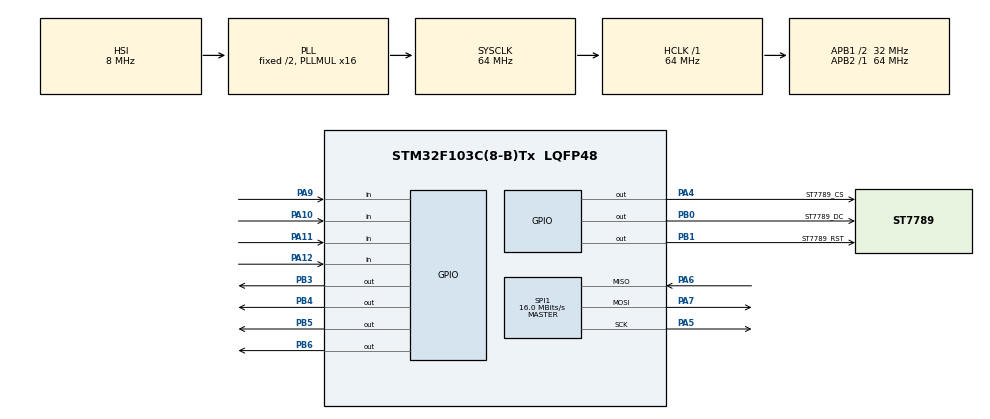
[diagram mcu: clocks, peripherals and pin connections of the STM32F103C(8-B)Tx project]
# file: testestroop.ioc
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Mcu.Family=STM32F1
Mcu.Name=STM32F103C(8-B)Tx
Mcu.Package=LQFP48
NVIC.PriorityGroup=NVIC_PRIORITYGROUP_4
PA10.GPIO_PuPd=GPIO_PULLUP
PA10.Signal=GPIO_Input
PA11.GPIO_PuPd=GPIO_PULLUP
PA11.Signal=GPIO_Input
PA12.GPIO_PuPd=GPIO_PULLUP
PA12.Signal=GPIO_Input
PA13.Mode=Serial_Wire
PA13.Signal=SYS_JTMS-SWDIO
PA14.Mode=Serial_Wire
PA14.Signal=SYS_JTCK-SWCLK
PA4.GPIO_Label=ST7789_CS
PA4.Signal=GPIO_Output
PA5.Mode=Full_Duplex_Master
PA5.Signal=SPI1_SCK
PA6.Mode=Full_Duplex_Master
PA6.Signal=SPI1_MISO
PA7.Mode=Full_Duplex_Master
PA7.Signal=SPI1_MOSI
PA9.GPIO_PuPd=GPIO_PULLUP
PA9.Signal=GPIO_Input
PB0.GPIO_Label=ST7789_DC
PB0.Signal=GPIO_Output
PB1.GPIO_Label=ST7789_RST
PB1.Signal=GPIO_Output
PB3.Signal=GPIO_Output
PB4.Signal=GPIO_Output
PB5.Signal=GPIO_Output
PB6.Signal=GPIO_Output
ProjectManager.HeapSize=0x200
ProjectManager.StackSize=0x400
ProjectManager.TargetToolchain=STM32CubeIDE
RCC.AHBFreq_Value=64000000
RCC.APB1CLKDivider=RCC_HCLK_DIV2
RCC.APB1Freq_Value=32000000
RCC.APB1TimFreq_Value=64000000
RCC.APB2Freq_Value=64000000
RCC.APB2TimFreq_Value=64000000
RCC.HCLKFreq_Value=64000000
RCC.PLLMUL=RCC_PLL_MUL16
RCC.SYSCLKFreq_VALUE=64000000
RCC.SYSCLKSource=RCC_SYSCLKSOURCE_PLLCLK
RCC.USBFreq_Value=64000000
SPI1.BaudRatePrescaler=SPI_BAUDRATEPRESCALER_4
SPI1.CLKPolarity=SPI_POLARITY_HIGH
SPI1.CalculateBaudRate=16.0 MBits/s
SPI1.Direction=SPI_DIRECTION_2LINES
SPI1.Mode=SPI_MODE_MASTER
SPI1.VirtualType=VM_MASTER
board=custom

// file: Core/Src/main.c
/* USER CODE BEGIN Header */
/**
  ******************************************************************************
  * @file           : main.c
  * @brief          : Main program body
  ******************************************************************************
  * @attention
  *
  * <h2><center>&copy; Copyright (c) 2025 STMicroelectronics.
  * All rights reserved.</center></h2>
  *
  * This software component is licensed by ST under BSD 3-Clause license,
  * the "License"; You may not use this file except in compliance with the
  * License. You may obtain a copy of the License at:
  *                        opensource.org/licenses/BSD-3-Clause
  *
  ******************************************************************************
  */
/* USER CODE END Header */
#include "main.h"

/* USER CODE BEGIN Includes */
#include "ST7789\ST7789.h"
#include "string.h"
/* USER CODE END Includes */

SPI_HandleTypeDef hspi1;

/* USER CODE BEGIN PV */
const int numero= 10

		;
int cordefinida[10];
int palavradefinida[10];
int funcaocor[4]={RED,YELLOW,GREEN,BLUE};
char cores[4][9] =
{"RED     ",
 "YELLOW  ",
 "GREEN   ",
 "BLUE    "
};

char contador_string[3];
int contador_pontos = 0;
int n1=0;
int n2=0;
int contador=0;
/* USER CODE END PV */

void SystemClock_Config(void);
static void MX_GPIO_Init(void);
static void MX_SPI1_Init(void);

int main(void)
{

  /* MCU Configuration--------------------------------------------------------*/

  /* Reset of all peripherals, Initializes the Flash interface and the Systick. */
  HAL_Init();

  /* Configure the system clock */
  SystemClock_Config();

  /* Initialize all configured peripherals */
  MX_GPIO_Init();
  MX_SPI1_Init();
  /* USER CODE BEGIN 2 */
  ST7789_Init();
  /* USER CODE END 2 */

  /* Infinite loop */
  /* USER CODE BEGIN WHILE */
  ST7789_Fill_Color(BLACK);
  while (1)
  {
    /* USER CODE END WHILE */

    /* USER CODE BEGIN 3 */

	  for(int i=0; i<numero; i++)
	  {
		  n1 = (rand()%4);
		  HAL_Delay(100);
		  n2 = (rand()%4);
		  while(n1==n2){
			  n2 = (rand()%4);
			  HAL_Delay(200);
		  }
		  cordefinida[i] = n1;
		  palavradefinida[i]= n2;
	  }

	  for(int i =0; i<numero;i++){
		  int index_cor = cordefinida[i];
		  int index_palavra = palavradefinida[i];
		  char cor_string[9];
		  strcpy(cor_string, cores[index_palavra]);
		  ST7789_WriteString(50, 50, cor_string, Font_11x18, funcaocor[index_cor], BLACK);
		  HAL_Delay(2000);
		  int cor_sla = funcaocor[index_cor];
		  if(cor_sla == RED && HAL_GPIO_ReadPin(GPIOA, GPIO_PIN_12) == 0)
		  {
			  contador_pontos++;
		  }
		  else if(cor_sla == BLUE && HAL_GPIO_ReadPin(GPIOA, GPIO_PIN_11) == 0)
		  {
			  contador_pontos++;
		  }
		  else if(cor_sla == YELLOW && HAL_GPIO_ReadPin(GPIOA, GPIO_PIN_10) == 0)
		  {
			  contador_pontos++;
		  }
		  else if(cor_sla == GREEN && HAL_GPIO_ReadPin(GPIOA, GPIO_PIN_9) == 0)
		  {
			  contador_pontos++;
		  }
		  itoa(contador_pontos, contador_string, 10);
		  ST7789_WriteString(30, 50, contador_string, Font_11x18, WHITE, BLACK);
	  }

	  while(1);

  }
  /* USER CODE END 3 */
}

void SystemClock_Config(void)
{
  RCC_OscInitTypeDef RCC_OscInitStruct = {0};
  RCC_ClkInitTypeDef RCC_ClkInitStruct = {0};

  /** Initializes the RCC Oscillators according to the specified parameters
  * in the RCC_OscInitTypeDef structure.
  */
  RCC_OscInitStruct.OscillatorType = RCC_OSCILLATORTYPE_HSI;
  RCC_OscInitStruct.HSIState = RCC_HSI_ON;
  RCC_OscInitStruct.HSICalibrationValue = RCC_HSICALIBRATION_DEFAULT;
  RCC_OscInitStruct.PLL.PLLState = RCC_PLL_ON;
  RCC_OscInitStruct.PLL.PLLSource = RCC_PLLSOURCE_HSI_DIV2;
  RCC_OscInitStruct.PLL.PLLMUL = RCC_PLL_MUL16;
  if (HAL_RCC_OscConfig(&RCC_OscInitStruct) != HAL_OK)
  {
    Error_Handler();
  }
  /** Initializes the CPU, AHB and APB buses clocks
  */
  RCC_ClkInitStruct.ClockType = RCC_CLOCKTYPE_HCLK|RCC_CLOCKTYPE_SYSCLK
                              |RCC_CLOCKTYPE_PCLK1|RCC_CLOCKTYPE_PCLK2;
  RCC_ClkInitStruct.SYSCLKSource = RCC_SYSCLKSOURCE_PLLCLK;
  RCC_ClkInitStruct.AHBCLKDivider = RCC_SYSCLK_DIV1;
  RCC_ClkInitStruct.APB1CLKDivider = RCC_HCLK_DIV2;
  RCC_ClkInitStruct.APB2CLKDivider = RCC_HCLK_DIV1;

  if (HAL_RCC_ClockConfig(&RCC_ClkInitStruct, FLASH_LATENCY_2) != HAL_OK)
  {
    Error_Handler();
  }
}

static void MX_SPI1_Init(void)
{

  /* SPI1 parameter configuration*/
  hspi1.Instance = SPI1;
  hspi1.Init.Mode = SPI_MODE_MASTER;
  hspi1.Init.Direction = SPI_DIRECTION_2LINES;
  hspi1.Init.DataSize = SPI_DATASIZE_8BIT;
  hspi1.Init.CLKPolarity = SPI_POLARITY_HIGH;
  hspi1.Init.CLKPhase = SPI_PHASE_1EDGE;
  hspi1.Init.NSS = SPI_NSS_SOFT;
  hspi1.Init.BaudRatePrescaler = SPI_BAUDRATEPRESCALER_4;
  hspi1.Init.FirstBit = SPI_FIRSTBIT_MSB;
  hspi1.Init.TIMode = SPI_TIMODE_DISABLE;
  hspi1.Init.CRCCalculation = SPI_CRCCALCULATION_DISABLE;
  hspi1.Init.CRCPolynomial = 10;
  if (HAL_SPI_Init(&hspi1) != HAL_OK)
  {
    Error_Handler();
  }

}

static void MX_GPIO_Init(void)
{
  GPIO_InitTypeDef GPIO_InitStruct = {0};

  /* GPIO Ports Clock Enable */
  __HAL_RCC_GPIOA_CLK_ENABLE();
  __HAL_RCC_GPIOB_CLK_ENABLE();

  /*Configure GPIO pin Output Level */
  HAL_GPIO_WritePin(ST7789_CS_GPIO_Port, ST7789_CS_Pin, GPIO_PIN_RESET);

  /*Configure GPIO pin Output Level */
  HAL_GPIO_WritePin(GPIOB, ST7789_DC_Pin|ST7789_RST_Pin|GPIO_PIN_3|GPIO_PIN_4
                          |GPIO_PIN_5|GPIO_PIN_6, GPIO_PIN_RESET);

  /*Configure GPIO pin : ST7789_CS_Pin */
  GPIO_InitStruct.Pin = ST7789_CS_Pin;
  GPIO_InitStruct.Mode = GPIO_MODE_OUTPUT_PP;
  GPIO_InitStruct.Pull = GPIO_NOPULL;
  GPIO_InitStruct.Speed = GPIO_SPEED_FREQ_LOW;
  HAL_GPIO_Init(ST7789_CS_GPIO_Port, &GPIO_InitStruct);

  /*Configure GPIO pins : ST7789_DC_Pin ST7789_RST_Pin PB3 PB4
                           PB5 PB6 */
  GPIO_InitStruct.Pin = ST7789_DC_Pin|ST7789_RST_Pin|GPIO_PIN_3|GPIO_PIN_4
                          |GPIO_PIN_5|GPIO_PIN_6;
  GPIO_InitStruct.Mode = GPIO_MODE_OUTPUT_PP;
  GPIO_InitStruct.Pull = GPIO_NOPULL;
  GPIO_InitStruct.Speed = GPIO_SPEED_FREQ_LOW;
  HAL_GPIO_Init(GPIOB, &GPIO_InitStruct);

  /*Configure GPIO pins : PA9 PA10 PA11 PA12 */
  GPIO_InitStruct.Pin = GPIO_PIN_9|GPIO_PIN_10|GPIO_PIN_11|GPIO_PIN_12;
  GPIO_InitStruct.Mode = GPIO_MODE_INPUT;
  GPIO_InitStruct.Pull = GPIO_PULLUP;
  HAL_GPIO_Init(GPIOA, &GPIO_InitStruct);

}

void Error_Handler(void)
{
  __disable_irq();
  while (1)
  {
  }
}

/************************ (C) COPYRIGHT STMicroelectronics *****END OF FILE****/
